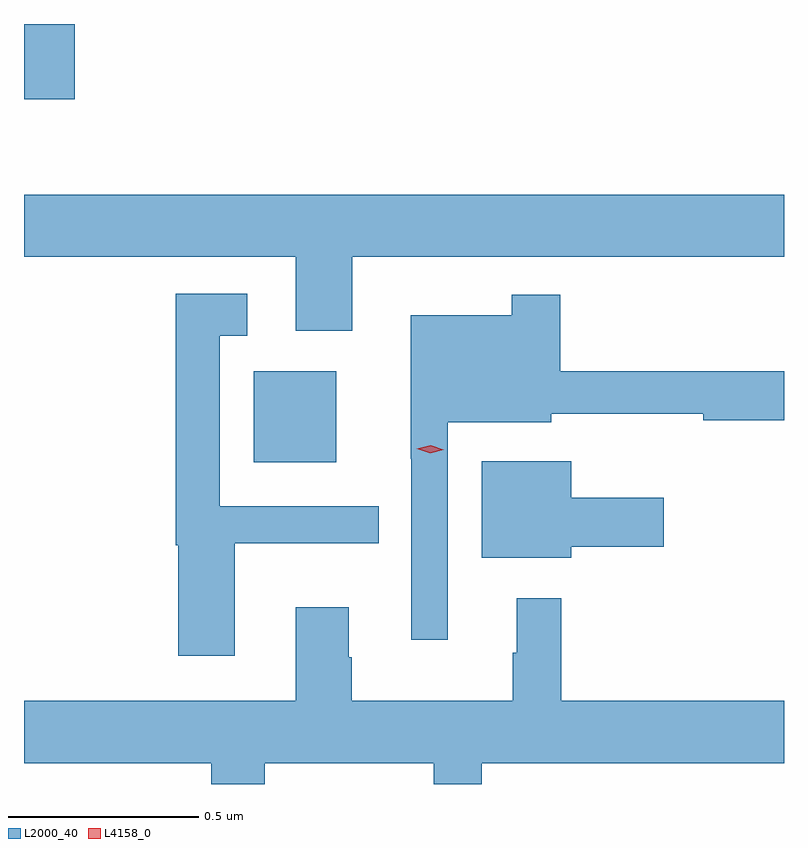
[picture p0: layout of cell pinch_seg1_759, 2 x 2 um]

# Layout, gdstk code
import gdstk
lib = gdstk.Library(unit=1e-6, precision=1e-09)
def R(c, l, rs):  # rectangles x0, y0, x1, y1
    for r in rs: c.add(gdstk.rectangle(r[:2], r[2:], *l))
def P(c, l, *ps):  # polygons
    for p in ps: c.add(gdstk.Polygon(p, *l))
L2000_40 = (2000, 40)
L4158_0 = (4158, 0)

pinch_seg1_759 = lib.new_cell('pinch_seg1_759')
R(pinch_seg1_759, L2000_40, [(858.626,524.552,858.844,524.791), (858.022,525.507,858.155,525.705)])
P(pinch_seg1_759, L2000_40, [(858.886,525.092),(860.022,525.092),(860.022,525.256),(858.022,525.256),(858.022,525.092),(858.737,525.092),(858.737,524.898),(858.886,524.898)],
  [(858.577,524.339),(858.956,524.339),(858.956,524.436),(858.537,524.436),(858.537,524.885),(858.61,524.885),(858.61,524.995),(858.421,524.995),(858.421,524.333),(858.428,524.333),(858.428,524.043),(858.577,524.043)],
  [(859.137,524.657),(859.41,524.657),(859.41,524.68),(859.81,524.68),(859.81,524.662),(860.022,524.662),(860.022,524.791),(859.433,524.791),(859.433,524.992),(859.305,524.992),(859.305,524.938),(859.04,524.938),(859.04,524.561),(859.041,524.561),(859.041,524.085),(859.137,524.085)],
  [(859.462,524.329),(859.705,524.329),(859.705,524.458),(859.462,524.458),(859.462,524.554),(859.226,524.554),(859.226,524.3),(859.462,524.3)],
  [(859.1,523.705),(859.226,523.705),(859.226,523.76),(860.022,523.76),(860.022,523.924),(859.436,523.924),(859.436,524.194),(859.319,524.194),(859.319,524.051),(859.308,524.051),(859.308,523.924),(858.885,523.924),(858.885,524.039),(858.877,524.039),(858.877,524.17),(858.737,524.17),(858.737,523.924),(858.022,523.924),(858.022,523.76),(858.515,523.76),(858.515,523.705),(858.655,523.705),(858.655,523.76),(859.1,523.76)])
P(pinch_seg1_759, L4158_0, [(859.091,524.576),(859.056,524.587),(859.056,524.587),(859.056,524.587),(859.092,524.596),(859.127,524.584),(859.127,524.584),(859.127,524.584)])

lib.write_gds('pinch_seg1_759.gds')
